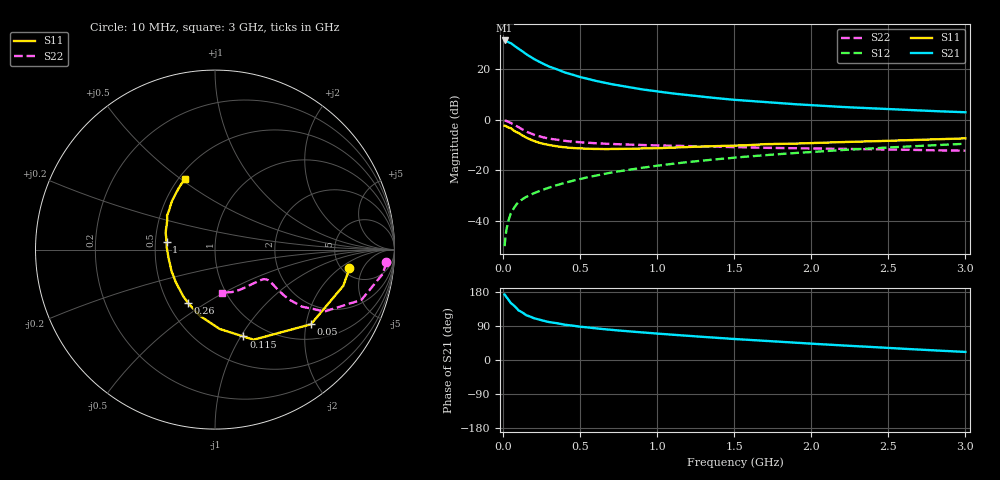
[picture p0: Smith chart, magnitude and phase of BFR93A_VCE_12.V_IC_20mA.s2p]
! Infineon Technologies  Discrete & RF Semiconductors
! BFR93A
! VCE =  12. V,  IC =  20 mA
! Common Emitter S-Parameters:  Nov 2015
# GHz  S  MA  R  50
!  f  S11  S21  S12  S22
! GHz  MAG  ANG  MAG  ANG  MAG  ANG  MAG  ANG
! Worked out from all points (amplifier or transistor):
!   180 points, 10 MHz to 3 GHz, reference 50 ohm
!   highest |S21| = 31.2 dB at 10 MHz (marker M1)
!   |S21| within 3 dB of that: start of sweep to 94.89 MHz
!   unconditionally stable (mu >= 1): 477 MHz to 2.761 GHz
!   at 160 MHz: K = 0.64, MSG = 27.8 dB, |S12| = -30.2 dB
!   at 1.22 GHz: K = 1.08, MAG = 11.3 dB, |S12| = -16.6 dB
!   at 3 GHz: K = 0.98, MSG = 6.2 dB, |S12| = -9.5 dB
!   S11 on the Smith chart (normalised r, x): 10 MHz: 5.78, -2.85; 50 MHz: 1.39, -2.14; 115 MHz: 0.79, -1.03; 260 MHz: 0.63, -0.42; 1 GHz: 0.57, +0.05; 3 GHz: 0.54, +0.52
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0.01  0.7566 -8.0  36.22 172.8  0.0032 80.0  0.9573 -4.3
0.02  0.7425 -15.8  35.53 166.9  0.0062 79.3  0.9438 -8.3
0.05  0.6775 -37.9  32.12 150.5  0.0141 72.5  0.8628 -18.9
0.1  0.5462 -66.8  25.09 131.0  0.0238 63.9  0.7017 -29.4
0.115  0.5093 -71.9  23.3 127.8  0.0256 63.0  0.665 -30.4
0.15  0.4428 -86.7  19.48 118.3  0.0299 61.4  0.5802 -33.2
0.155  0.4351 -88.1  19.08 117.6  0.0304 61.4  0.5726 -33.3
0.2  0.3793 -102.5  15.65 110.3  0.0353 61.6  0.5039 -33.9
0.24  0.3457 -112.1  13.5 105.6  0.0395 62.3  0.4635 -33.6
0.26  0.3336 -116.5  12.59 103.5  0.0416 62.7  0.4468 -33.3
0.3  0.3152 -124.0  11.06 100.0  0.0458 63.6  0.4204 -32.7
0.4  0.2842 -140.2  8.481 93.1  0.0565 65.6  0.3789 -31.1
0.52  0.2684 -155.4  6.667 87.1  0.0697 66.7  0.3534 -30.1
0.6  0.2633 -163.2  5.803 83.5  0.0785 67.2  0.3411 -29.9
0.7  0.263 -170.5  5.009 79.5  0.09 67.3  0.3305 -30.2
0.8  0.2644 -177.4  4.419 76.0  0.1009 67.3  0.3222 -30.7
1  0.2725 171.2  3.577 69.7  0.1233 66.2  0.3098 -32.8
1.02  0.2738 170.2  3.516 69.1  0.1255 66.1  0.3087 -33.1
1.52  0.3071 150.5  2.426 54.9  0.1798 62.2  0.2845 -41.6
2.02  0.3461 136.4  1.906 42.7  0.232 57.5  0.2686 -52.7
2.52  0.383 124.4  1.593 31.5  0.284 52.3  0.2568 -65.6
3  0.4263 113.1  1.394 21.3  0.3337 47.2  0.2438 -81.2
